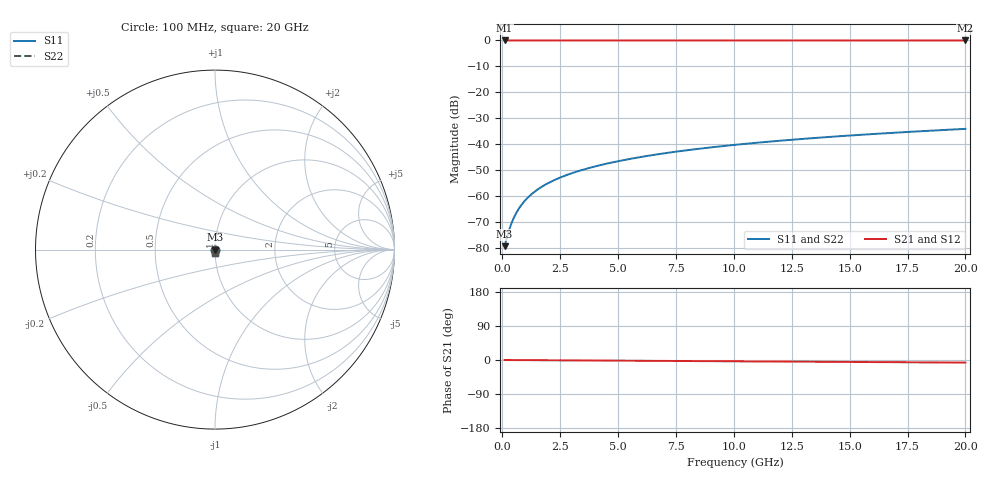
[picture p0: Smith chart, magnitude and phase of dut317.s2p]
! Touchstone file exported from HFSS 2026.1.0
!  File:  C:/ffzhzh/LocalFiles/Ansys_Project_Files/temp_train_TSV_317_1783018274_46388.aedt
!  Generated:  02:52:35 AM Jul  3, 2026
!  Design:  TSV
!  Project:  temp_train_TSV_317_1783018274_46388
! Variables:
!  h_bsmrdl = 2um
!  h_ox = 20um
!  h_rdl = 5um
!  h_sub = 67.35um
!  h_tmrdl = 5um
!  h_tsv = 67.35um
!  h_via = 3um
!  l_bsmrdl = 300um
!  l_sub = 423.88um
!  l_tmrdl = 200um
!  m_sub = 200um
!  pitch = 40.76um
!  r_tsv = 11.94um
!  s_tmrdl = 10um
!  w_bsmrdl = 18um
!  w_sub = 500um
!  w_tmrdl = 12um
!  x_tsv_center1 = 206um
!  x_tsv_center2 = 524um
!  x_tsv_center3 = 736um
!  x_tsv_center4 = 1054um
!  x_tsv_center5 = 1266um
!  x_tsv_center6 = 1584um
# GHz S MA R 50.000000
! Terminal data exported
! Port[1] = TSV1_1_T1
! Port[2] = TSV1_1_T2
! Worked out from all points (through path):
!   200 points, 100 MHz to 20 GHz, reference 50 ohm
!   highest |S21| = 0.00 dB at 100 MHz (marker M1); lowest = 0.0 dB at 20 GHz (marker M2)
!   lowest |S11| = -79.3 dB at 100 MHz (marker M3), VSWR 1.00, Z = 50 - j0.00605 ohm
!   |S11| at or under -10 dB: start of sweep to end of sweep
!   |S22| runs from -79.3 to -34.1 dB; largest |S21 - S12| = 6.6e-15
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0.1  0.0001078 -34.1  0.9999 -0.0  0.9999 -0.0  0.0001078 -34.1
! Gamma 0 0 0 0
! Port Impedance 50 0 50 0
0.2  0.0001597 -50.9  0.9999 -0.1  0.9999 -0.1  0.0001597 -50.9
0.3  0.0002255 -58.5  0.9999 -0.1  0.9999 -0.1  0.0002255 -58.5
0.4  0.0003002 -62.7  0.9999 -0.1  0.9999 -0.1  0.0003002 -62.7
0.5  0.0003814 -65.4  0.9998 -0.2  0.9998 -0.2  0.0003814 -65.4
0.6  0.0004673 -67.5  0.9998 -0.2  0.9998 -0.2  0.0004673 -67.5
0.8  0.0006483 -70.6  0.9998 -0.3  0.9998 -0.3  0.0006483 -70.6
1.1  0.0009303 -74.1  0.9997 -0.4  0.9997 -0.4  0.0009303 -74.1
1.3  0.001121 -75.8  0.9997 -0.5  0.9997 -0.5  0.001121 -75.8
1.5  0.001312 -77.2  0.9997 -0.5  0.9997 -0.5  0.001312 -77.2
1.8  0.001598 -78.9  0.9997 -0.6  0.9997 -0.6  0.001598 -78.9
2.1  0.001885 -80.2  0.9997 -0.7  0.9997 -0.7  0.001885 -80.2
2.7  0.002459 -82.0  0.9996 -0.9  0.9996 -0.9  0.002459 -82.0
3.5  0.003228 -83.6  0.9996 -1.2  0.9996 -1.2  0.003228 -83.6
4.2  0.003907 -84.5  0.9995 -1.4  0.9995 -1.4  0.003907 -84.5
5  0.004688 -85.4  0.9995 -1.7  0.9995 -1.7  0.004688 -85.4
6.8  0.006464 -87.0  0.9994 -2.3  0.9994 -2.3  0.006464 -87.0
8.3  0.007957 -88.0  0.9993 -2.8  0.9993 -2.8  0.007957 -88.0
10.1  0.009755 -89.1  0.9992 -3.5  0.9992 -3.5  0.009755 -89.1
13.4  0.01306 -90.9  0.9991 -4.6  0.9991 -4.6  0.01306 -90.9
16.7  0.01638 -92.4  0.9989 -5.7  0.9989 -5.7  0.01638 -92.4
20  0.01971 -93.8  0.9988 -6.8  0.9988 -6.8  0.01971 -93.8
